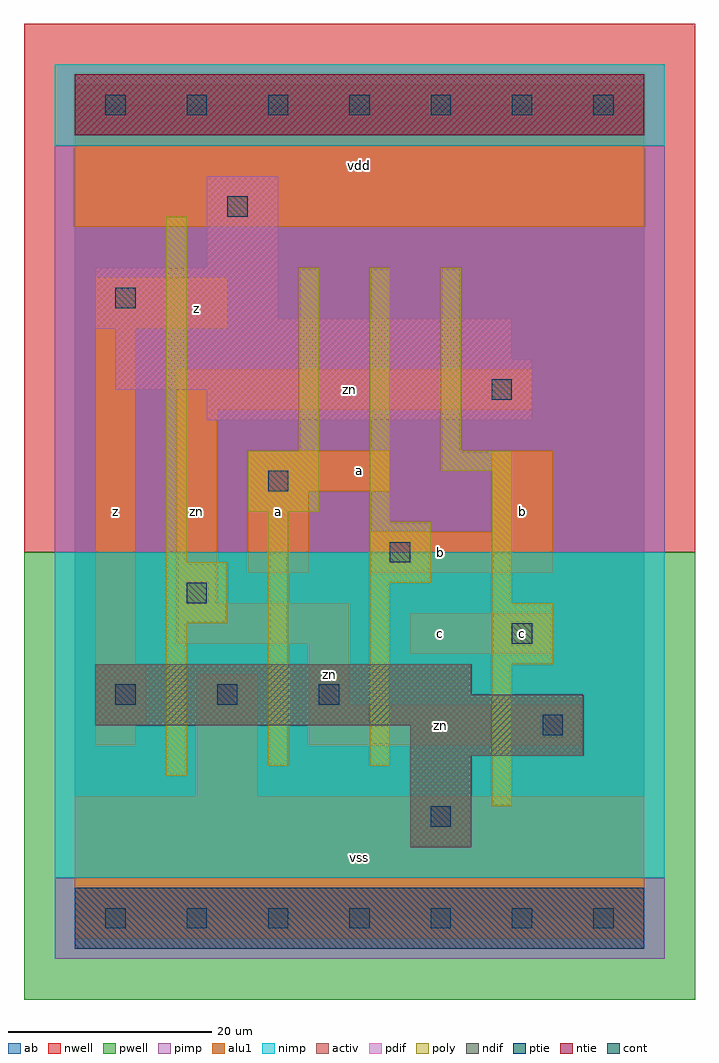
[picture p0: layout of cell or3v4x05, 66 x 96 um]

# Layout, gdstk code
import gdstk
lib = gdstk.Library(unit=1e-6, precision=1e-09)
def R(c, l, rs):  # rectangles x0, y0, x1, y1
    for r in rs: c.add(gdstk.rectangle(r[:2], r[2:], *l))
def A(c, l, x, y, w, h, nx, ny, dx, dy):  # array of equal rectangles
    R(c, l, [(x+i*dx, y+j*dy, x+i*dx+w, y+j*dy+h) for i in range(nx) for j in range(ny)])
ndif = (3, 0)
pdif = (4, 0)
ntie = (5, 0)
ptie = (6, 0)
cont = (25, 0)
pwell = (41, 0)
nwell = (42, 0)
activ = (43, 0)
pimp = (44, 0)
nimp = (45, 0)
poly = (46, 0)
alu1 = (49, 0)
ab = (63, 0)

or3v4x05 = lib.new_cell('or3v4x05')
R(or3v4x05, ndif, [(33,7,39,16), (33,16,50,19), (2,19,50,22), (2,22,39,25)])
R(or3v4x05, pdif, [(13,49,45,52), (4,52,45,55), (4,55,43,58), (2,58,43,59), (2,59,20,64), (13,64,20,73)])
R(or3v4x05, ntie, [(0,77,56,83)])
R(or3v4x05, ptie, [(0,-3,56,3)])
A(or3v4x05, cont, 3, -1, 2, 2, 7, 2, 8, 80)
A(or3v4x05, cont, 4, 21, 2, 2, 3, 1, 10, 0)
R(or3v4x05, cont, [(35,9,37,11), (46,18,48,20), (43,27,45,29), (11,31,13,33), (31,35,33,37), (19,42,21,44), (41,51,43,53), (4,60,6,62), (15,69,17,71)])
R(or3v4x05, pwell, [(-5,-8,61,36)])
R(or3v4x05, nwell, [(-5,36,61,88)])
R(or3v4x05, activ, [(0,-3,56,3), (33,7,39,16), (33,16,50,19), (2,19,50,22), (2,22,39,25), (13,49,45,52), (4,52,45,55), (4,55,43,58), (2,58,43,59), (2,59,20,64), (13,64,20,73), (0,77,56,83)])
R(or3v4x05, pimp, [(-2,-4,58,4), (-2,36,58,76)])
R(or3v4x05, nimp, [(-2,4,58,36), (-2,76,58,84)])
R(or3v4x05, poly, [(41,11,43,25), (9,14,11,29), (19,15,21,40), (29,15,31,33), (41,25,47,31), (9,29,15,35), (41,31,43,44), (29,33,35,39), (9,35,11,69), (29,39,31,64), (17,40,24,46), (36,44,43,46), (22,46,24,64), (36,46,38,64)])
R(or3v4x05, alu1, [(0,-2,56,12), (12,12,18,24), (2,17,6,19), (23,17,50,21), (2,19,7,25), (23,21,27,27), (2,25,6,58), (33,26,47,30), (10,27,27,31), (10,31,14,50), (17,34,23,42), (29,34,47,38), (41,38,47,46), (17,42,31,46), (10,50,45,54), (2,58,15,63), (0,68,56,82)])
R(or3v4x05, ab, [(0,0,56,80)])
or3v4x05.add(gdstk.Label('zn', (12,40), layer=49, texttype=0))
or3v4x05.add(gdstk.Label('zn', (25,24), layer=49, texttype=0))
or3v4x05.add(gdstk.Label('zn', (36,19), layer=49, texttype=0))
or3v4x05.add(gdstk.Label('zn', (27,52), layer=49, texttype=0))
or3v4x05.add(gdstk.Label('z', (4,40), layer=49, texttype=0))
or3v4x05.add(gdstk.Label('a', (20,40), layer=49, texttype=0))
or3v4x05.add(gdstk.Label('z', (12,60), layer=49, texttype=0))
or3v4x05.add(gdstk.Label('vss', (28,6), layer=49, texttype=0))
or3v4x05.add(gdstk.Label('c', (36,28), layer=49, texttype=0))
or3v4x05.add(gdstk.Label('b', (36,36), layer=49, texttype=0))
or3v4x05.add(gdstk.Label('a', (28,44), layer=49, texttype=0))
or3v4x05.add(gdstk.Label('vdd', (28,74), layer=49, texttype=0))
or3v4x05.add(gdstk.Label('c', (44,28), layer=49, texttype=0))
or3v4x05.add(gdstk.Label('b', (44,40), layer=49, texttype=0))

lib.write_gds('or3v4x05.gds')
